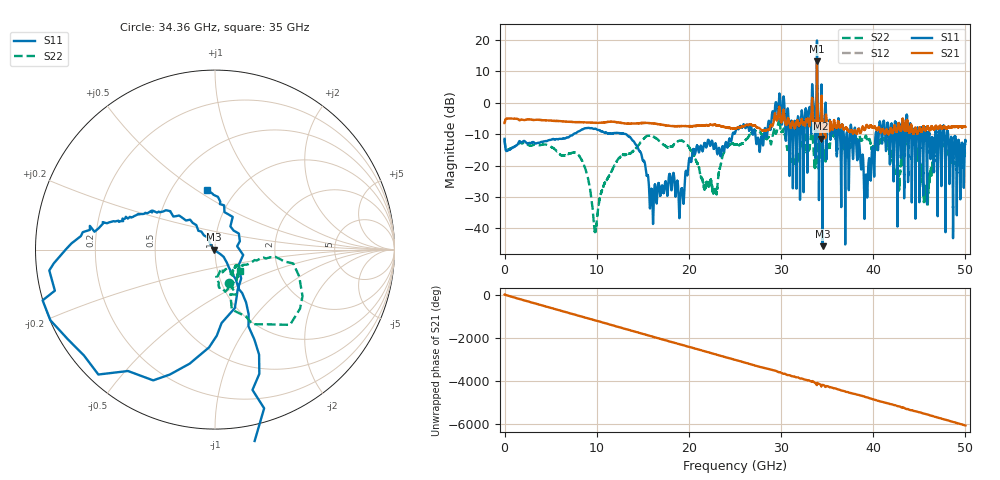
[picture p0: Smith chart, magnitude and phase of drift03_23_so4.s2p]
!Created with skrf (http://scikit-rf.org).
# Hz S RI R 50.0
!freq ReS11 ImS11 ReS21 ImS21 ReS12 ImS12 ReS22 ImS22
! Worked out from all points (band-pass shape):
!   10001 points, 300 kHz to 50 GHz, reference 50 ohm
!   highest |S21| = 13.10 dB at 33.9 GHz (marker M1); lowest = -11.4 dB at 34.32 GHz (marker M2)
!   |S21| within 3 dB of the highest: 33.89061 GHz to 33.90508 GHz (14.47 MHz wide, 0.0427 % of centre)
!   lowest |S11| = -45.6 dB at 34.5 GHz (marker M3), VSWR 1.01, Z = 49.5 - j0.108 ohm
!   |S11| at or under -10 dB: start of sweep to 7.487 GHz; 13.13 GHz to 24.74 GHz (11.61 GHz wide, 61.3 % of centre); 38.09 GHz to 40.26 GHz (2.169 GHz wide, 5.54 % of centre) (the widest 3 of 49)
!   |S22| runs from -41.4 to 5.5 dB; largest |S21 - S12| = 0.33
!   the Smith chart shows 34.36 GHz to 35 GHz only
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300000  -0.238 -0.1179  0.4674 0.0774  0.465 0.0782  -0.2339 -0.1252
1.440291e9  0.2101 0.0644  -0.5478 -0.0292  -0.5479 -0.0293  0.211 -0.00436
2.915283e9  -0.2121 -0.088  0.5341 0.051  0.5346 0.0511  -0.2026 0.0401
4.415274e9  0.2061 0.1325  -0.5213 -0.0416  -0.5218 -0.0416  0.1975 -0.0874
8.33525e9  0.2886 -0.2341  0.1468 0.4658  0.1468 0.4657  -0.0731 -0.1009
9.850241e9  -0.3621 0.1321  -0.1533 -0.4504  -0.1535 -0.4503  0.00818 0.00244
1.115523e10  0.3165 0.0819  -0.0426 0.4905  -0.0428 0.4907  -0.0477 0.0387
1.263522e10  -0.3124 -0.0938  0.0287 -0.4739  0.0291 -0.4749  0.0761 -0.1179
1.66702e10  0.0275 0.0439  -0.3773 0.2547  -0.3779 0.2541  -0.1269 -0.2187
1.787019e10  0.068 -0.0246  0.429 0.0154  0.4282 0.0151  -0.0376 0.1913
2.281016e10  0.00101 0.2137  -0.2818 0.3435  -0.281 0.343  -0.0327 0.0251
2.500015e10  -0.3262 -0.0143  -0.2558 -0.2958  -0.2547 -0.2976  -0.2138 0.0288
2.895513e10  -0.3241 0.4324  -0.2873 0.3274  -0.2969 0.2917  0.0653 0.2209
3.006512e10  0.397 0.2636  0.4482 -0.1992  0.4529 -0.1842  0.1717 -0.2969
3.171011e10  -0.0896 0.1849  -0.3616 0.3578  -0.3614 0.3566  0.0658 0.1592
3.33351e10  0.6283 -0.8016  0.2544 -0.8434  0.2514 -0.8236  -0.1959 -0.4196
3.38951e10  -2.489 -9.415  -4.444 0.8194  -4.166 1.004  0.5138 1.816
3.432009e10  -0.7784 -8.78e-05  -0.1806 0.1979  -0.241 0.1786  0.1432 -0.0718
3.450009e10  -0.00511 -0.00109  -0.4475 0.2962  -0.4118 0.2756  0.1907 -0.0767
3.919506e10  0.0664 0.0116  0.2013 -0.3558  0.2061 -0.3491  -0.2695 -0.1185
4.167005e10  -0.1948 0.3033  0.3127 0.00413  0.3123 0.00888  -0.1879 -0.0121
5e10  -0.1223 -0.2153  0.1475 0.3848  0.145 0.3825  -0.0557 -0.1445
